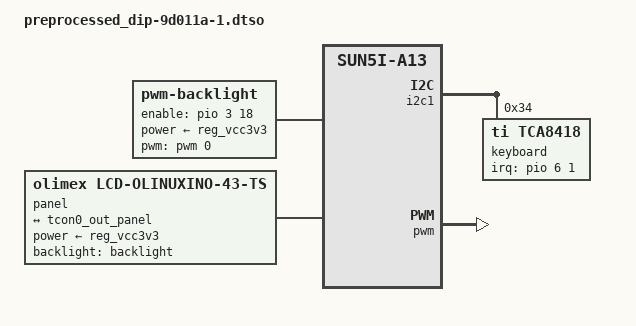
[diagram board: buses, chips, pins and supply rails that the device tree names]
# 0 "dip-9d011a-1.dts"
# 0 "<built-in>"
# 0 "<command-line>"
# 1 "dip-9d011a-1.dts"
/dts-v1/;
/plugin/;
# 1 "./dt-bindings/pwm/pwm.h" 1
# 4 "dip-9d011a-1.dts" 2
# 1 "./dt-bindings/interrupt-controller/irq.h" 1
# 5 "dip-9d011a-1.dts" 2
# 1 "./dt-bindings/input/input.h" 1
# 13 "./dt-bindings/input/input.h"
# 1 "./dt-bindings/input/linux-event-codes.h" 1
# 14 "./dt-bindings/input/input.h" 2
# 6 "dip-9d011a-1.dts" 2

/ {
 compatible = "nextthing,chip", "allwinner,sun5i-r8", "allwinner,sun5i-a13";

 fragment@0{
  target-path = "/";

  __overlay__ {
   backlight: backlight {
    compatible = "pwm-backlight";
    pwms = <&pwm 0 8000 (1 << 0)>;
    power-supply = <&reg_vcc3v3>;
    brightness-levels = <0 1 2 4 8 12 16 24 28 32 100>;
    default-brightness-level = <8>;
    enable-gpios = <&pio 3 18 0>;
   };

   panel {
    power-supply = <&reg_vcc3v3>;
    compatible = "olimex,lcd-olinuxino-43-ts";
    backlight = <&backlight>;

    port {
     panel_input: endpoint {
      remote-endpoint = <&tcon0_out_panel>;
     };
    };
   };
  };
 };

 fragment@1{
  target = <&i2c1>;

  __overlay__ {
   status = "okay";

   keyboard: keyboard@34 {
    compatible = "ti,tca8418";
    reg = <0x34>;
    interrupt-parent = <&pio>;
    interrupts = <6 1 2>;
    keypad,num-rows = <6>;
    keypad,num-columns = <10>;
    keypad,autorepeat;
    1,keymap = <
     ((((0) & 0xFF) << 24) | (((0) & 0xFF) << 16) | ((13) & 0xFFFF))
     ((((0) & 0xFF) << 24) | (((1) & 0xFF) << 16) | ((2) & 0xFFFF))
     ((((0) & 0xFF) << 24) | (((2) & 0xFF) << 16) | ((3) & 0xFFFF))
     ((((0) & 0xFF) << 24) | (((3) & 0xFF) << 16) | ((4) & 0xFFFF))
     ((((0) & 0xFF) << 24) | (((4) & 0xFF) << 16) | ((5) & 0xFFFF))
     ((((0) & 0xFF) << 24) | (((5) & 0xFF) << 16) | ((6) & 0xFFFF))
     ((((0) & 0xFF) << 24) | (((6) & 0xFF) << 16) | ((7) & 0xFFFF))
     ((((0) & 0xFF) << 24) | (((7) & 0xFF) << 16) | ((8) & 0xFFFF))
     ((((0) & 0xFF) << 24) | (((8) & 0xFF) << 16) | ((9) & 0xFFFF))
     ((((0) & 0xFF) << 24) | (((9) & 0xFF) << 16) | ((10) & 0xFFFF))
     ((((1) & 0xFF) << 24) | (((0) & 0xFF) << 16) | ((16) & 0xFFFF))
     ((((1) & 0xFF) << 24) | (((1) & 0xFF) << 16) | ((17) & 0xFFFF))
     ((((1) & 0xFF) << 24) | (((2) & 0xFF) << 16) | ((18) & 0xFFFF))
     ((((1) & 0xFF) << 24) | (((3) & 0xFF) << 16) | ((19) & 0xFFFF))
     ((((1) & 0xFF) << 24) | (((4) & 0xFF) << 16) | ((20) & 0xFFFF))
     ((((1) & 0xFF) << 24) | (((5) & 0xFF) << 16) | ((21) & 0xFFFF))
     ((((1) & 0xFF) << 24) | (((6) & 0xFF) << 16) | ((22) & 0xFFFF))
     ((((1) & 0xFF) << 24) | (((7) & 0xFF) << 16) | ((23) & 0xFFFF))
     ((((1) & 0xFF) << 24) | (((8) & 0xFF) << 16) | ((24) & 0xFFFF))
     ((((1) & 0xFF) << 24) | (((9) & 0xFF) << 16) | ((25) & 0xFFFF))
     ((((2) & 0xFF) << 24) | (((0) & 0xFF) << 16) | ((30) & 0xFFFF))
     ((((2) & 0xFF) << 24) | (((1) & 0xFF) << 16) | ((31) & 0xFFFF))
     ((((2) & 0xFF) << 24) | (((2) & 0xFF) << 16) | ((32) & 0xFFFF))
     ((((2) & 0xFF) << 24) | (((3) & 0xFF) << 16) | ((33) & 0xFFFF))
     ((((2) & 0xFF) << 24) | (((4) & 0xFF) << 16) | ((34) & 0xFFFF))
     ((((2) & 0xFF) << 24) | (((5) & 0xFF) << 16) | ((35) & 0xFFFF))
     ((((2) & 0xFF) << 24) | (((6) & 0xFF) << 16) | ((36) & 0xFFFF))
     ((((2) & 0xFF) << 24) | (((7) & 0xFF) << 16) | ((37) & 0xFFFF))
     ((((2) & 0xFF) << 24) | (((8) & 0xFF) << 16) | ((38) & 0xFFFF))
     ((((2) & 0xFF) << 24) | (((9) & 0xFF) << 16) | ((28) & 0xFFFF))
     ((((3) & 0xFF) << 24) | (((0) & 0xFF) << 16) | ((15) & 0xFFFF))
     ((((3) & 0xFF) << 24) | (((1) & 0xFF) << 16) | ((44) & 0xFFFF))
     ((((3) & 0xFF) << 24) | (((2) & 0xFF) << 16) | ((45) & 0xFFFF))
     ((((3) & 0xFF) << 24) | (((3) & 0xFF) << 16) | ((46) & 0xFFFF))
     ((((3) & 0xFF) << 24) | (((4) & 0xFF) << 16) | ((47) & 0xFFFF))
     ((((3) & 0xFF) << 24) | (((5) & 0xFF) << 16) | ((48) & 0xFFFF))
     ((((3) & 0xFF) << 24) | (((6) & 0xFF) << 16) | ((49) & 0xFFFF))
     ((((3) & 0xFF) << 24) | (((7) & 0xFF) << 16) | ((50) & 0xFFFF))
     ((((3) & 0xFF) << 24) | (((8) & 0xFF) << 16) | ((103) & 0xFFFF))
     ((((3) & 0xFF) << 24) | (((9) & 0xFF) << 16) | ((108) & 0xFFFF))
     ((((4) & 0xFF) << 24) | (((0) & 0xFF) << 16) | ((1) & 0xFFFF))
     ((((4) & 0xFF) << 24) | (((1) & 0xFF) << 16) | ((100) & 0xFFFF))
     ((((4) & 0xFF) << 24) | (((2) & 0xFF) << 16) | ((56) & 0xFFFF))
     ((((4) & 0xFF) << 24) | (((3) & 0xFF) << 16) | ((57) & 0xFFFF))
     ((((4) & 0xFF) << 24) | (((4) & 0xFF) << 16) | ((97) & 0xFFFF))
     ((((4) & 0xFF) << 24) | (((5) & 0xFF) << 16) | ((53) & 0xFFFF))
     ((((4) & 0xFF) << 24) | (((6) & 0xFF) << 16) | ((54) & 0xFFFF))
     ((((4) & 0xFF) << 24) | (((8) & 0xFF) << 16) | ((105) & 0xFFFF))
     ((((4) & 0xFF) << 24) | (((9) & 0xFF) << 16) | ((106) & 0xFFFF))
     ((((5) & 0xFF) << 24) | (((0) & 0xFF) << 16) | ((42) & 0xFFFF))
     ((((5) & 0xFF) << 24) | (((1) & 0xFF) << 16) | ((11) & 0xFFFF))
     ((((5) & 0xFF) << 24) | (((2) & 0xFF) << 16) | ((12) & 0xFFFF))
     ((((5) & 0xFF) << 24) | (((3) & 0xFF) << 16) | ((14) & 0xFFFF))
     ((((5) & 0xFF) << 24) | (((4) & 0xFF) << 16) | ((52) & 0xFFFF))
    >;
   };
  };
 };

        fragment@2{
                target = <&i2c1_pins>;

                __overlay__ {
   drive-strength = <10>;
   bias-disable;
  };
 };

 fragment@3{
  target = <&lcd_rgb565_pins>;

  __overlay__ {
   drive-strength = <10>;
   bias-disable;
  };
 };

 fragment@4{
  target = <&pwm>;

  __overlay__ {
   pinctrl-names = "default";
   pinctrl-0 = <&pwm0_pin>;
   status = "okay";
  };
 };

 fragment@5{
  target = <&pwm0_pin>;

  __overlay__ {
   drive-strength = <10>;
   bias-disable;
  };
 };

 fragment@6{
  target = <&rtp>;

  __overlay__ {
   allwinner,ts-attached;
  };
 };

 fragment@7{
  target = <&tcon0>;

  __overlay__ {
   pinctrl-names = "default";
   pinctrl-0 = <&lcd_rgb565_pins>;
  };
 };

 fragment@8{
  target = <&tcon0_out>;

  __overlay__ {
   tcon0_out_panel: endpoint@0 {
    reg = <0>;
    remote-endpoint = <&panel_input>;
    allwinner,tcon-channel = <0>;
   };
  };
 };
};
